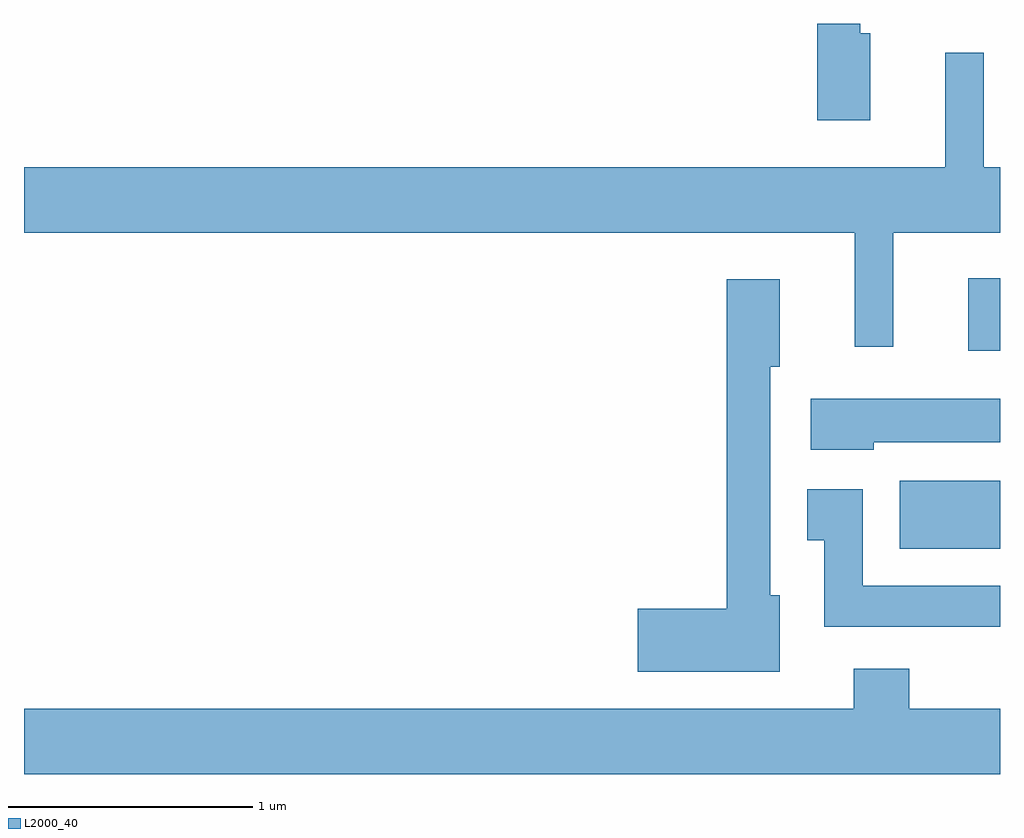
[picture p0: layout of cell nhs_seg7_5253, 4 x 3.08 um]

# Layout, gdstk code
import gdstk
lib = gdstk.Library(unit=1e-6, precision=1e-09)
def R(c, l, rs):  # rectangles x0, y0, x1, y1
    for r in rs: c.add(gdstk.rectangle(r[:2], r[2:], *l))
def P(c, l, *ps):  # polygons
    for p in ps: c.add(gdstk.Polygon(p, *l))
L2000_40 = (2000, 40)

nhs_seg7_5253 = lib.new_cell('nhs_seg7_5253')
R(nhs_seg7_5253, L2000_40, [(349.201,1744.101,349.611,1744.379), (349.481,1744.911,349.611,1745.208)])
P(nhs_seg7_5253, L2000_40, [(349.079,1746.214),(349.039,1746.214),(349.039,1746.252),(348.861,1746.252),(348.861,1745.856),(349.079,1745.856)],
  [(349.174,1745.396),(349.611,1745.396),(349.611,1745.664),(349.544,1745.664),(349.544,1746.133),(349.386,1746.133),(349.386,1745.664),(345.611,1745.664),(345.611,1745.396),(349.016,1745.396),(349.016,1744.928),(349.174,1744.928)],
  [(348.709,1743.909),(348.669,1743.909),(348.669,1744.846),(348.709,1744.846),(348.709,1745.204),(348.491,1745.204),(348.491,1743.854),(348.126,1743.854),(348.126,1743.596),(348.709,1743.596)],
  [(349.094,1744.536),(349.611,1744.536),(349.611,1744.714),(348.836,1744.714),(348.836,1744.506),(349.094,1744.506)],
  [(349.611,1743.949),(349.049,1743.949),(349.049,1744.344),(348.821,1744.344),(348.821,1744.136),(348.891,1744.136),(348.891,1743.781),(349.611,1743.781)],
  [(349.611,1743.444),(349.239,1743.444),(349.239,1743.609),(349.011,1743.609),(349.011,1743.444),(345.611,1743.444),(345.611,1743.176),(349.611,1743.176)])

lib.write_gds('nhs_seg7_5253.gds')
